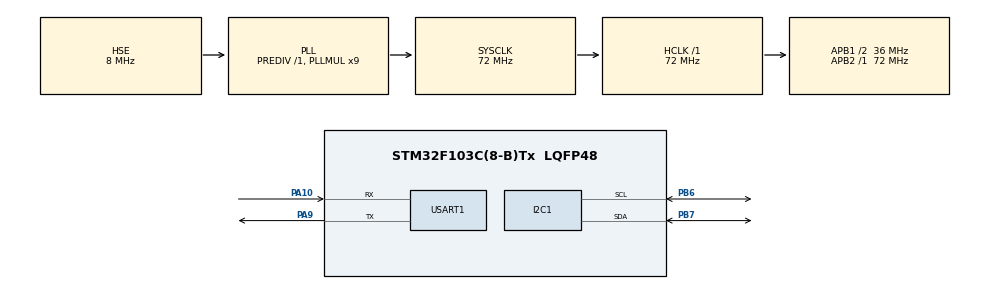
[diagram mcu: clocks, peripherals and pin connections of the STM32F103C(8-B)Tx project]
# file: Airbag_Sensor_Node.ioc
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Mcu.Family=STM32F1
Mcu.Name=STM32F103C(8-B)Tx
Mcu.Package=LQFP48
NVIC.PriorityGroup=NVIC_PRIORITYGROUP_4
PA10.Mode=Asynchronous
PA10.Signal=USART1_RX
PA13.Mode=Serial_Wire
PA13.Signal=SYS_JTMS-SWDIO
PA14.Mode=Serial_Wire
PA14.Signal=SYS_JTCK-SWCLK
PA9.Mode=Asynchronous
PA9.Signal=USART1_TX
PB6.Mode=I2C
PB6.Signal=I2C1_SCL
PB7.Mode=I2C
PB7.Signal=I2C1_SDA
PD0-OSC_IN.Mode=HSE-External-Oscillator
PD0-OSC_IN.Signal=RCC_OSC_IN
PD1-OSC_OUT.Mode=HSE-External-Oscillator
PD1-OSC_OUT.Signal=RCC_OSC_OUT
ProjectManager.HeapSize=0x200
ProjectManager.StackSize=0x400
ProjectManager.TargetToolchain=STM32CubeIDE
RCC.AHBFreq_Value=72000000
RCC.APB1CLKDivider=RCC_HCLK_DIV2
RCC.APB1Freq_Value=36000000
RCC.APB1TimFreq_Value=72000000
RCC.APB2Freq_Value=72000000
RCC.APB2TimFreq_Value=72000000
RCC.HCLKFreq_Value=72000000
RCC.PLLMUL=RCC_PLL_MUL9
RCC.PLLSourceVirtual=RCC_PLLSOURCE_HSE
RCC.SYSCLKFreq_VALUE=72000000
RCC.SYSCLKSource=RCC_SYSCLKSOURCE_PLLCLK
RCC.USBFreq_Value=72000000
USART1.VirtualMode=VM_ASYNC
board=custom

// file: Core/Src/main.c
/* USER CODE BEGIN Header */
/**
  ******************************************************************************
  * @file           : main.c
  * @brief          : Main program body
  ******************************************************************************
  * @attention
  *
  * Copyright (c) 2026 STMicroelectronics.
  * All rights reserved.
  *
  * This software is licensed under terms that can be found in the LICENSE file
  * in the root directory of this software component.
  * If no LICENSE file comes with this software, it is provided AS-IS.
  *
  ******************************************************************************
  */
/* USER CODE END Header */
#include "main.h"

/* USER CODE BEGIN Includes */
#include <stdio.h>
#include <math.h>
#include <string.h>
/* USER CODE END Includes */

I2C_HandleTypeDef hi2c1;

UART_HandleTypeDef huart1;

void SystemClock_Config(void);
static void MX_GPIO_Init(void);
static void MX_I2C1_Init(void);
static void MX_USART1_UART_Init(void);

/* USER CODE BEGIN 0 */

int __io_putchar(int ch)
{
    HAL_UART_Transmit(&huart1, (uint8_t *)&ch, 1, 100);
    return ch;
}

void MPU6050_Init(I2C_HandleTypeDef *hi2c)
{
    uint8_t data = 0;

    // Wake up the MPU6050 (clear sleep bit)
    HAL_I2C_Mem_Write(hi2c, 0x68<<1, 0x6B, 1, &data, 1, 100);

    HAL_Delay(100);
}

void MPU6050_ReadAccel(I2C_HandleTypeDef *hi2c, float *Ax, float *Ay, float *Az)
{
    uint8_t data[6];
    int16_t rawAx, rawAy, rawAz;

    if(HAL_I2C_Mem_Read(hi2c, 0x68<<1, 0x3B, 1, data, 6, 100) == HAL_OK)
    {
        rawAx = (int16_t)(data[0] << 8 | data[1]);
        rawAy = (int16_t)(data[2] << 8 | data[3]);
        rawAz = (int16_t)(data[4] << 8 | data[5]);

        *Ax = rawAx / 16384.0f;
        *Ay = rawAy / 16384.0f;
        *Az = rawAz / 16384.0f;
    }
    else
    {
        *Ax = 0;
        *Ay = 0;
        *Az = 0;
    }
}

/* USER CODE END 0 */

int main(void)
{

  /* MCU Configuration--------------------------------------------------------*/

  /* Reset of all peripherals, Initializes the Flash interface and the Systick. */
  HAL_Init();

  /* Configure the system clock */
  SystemClock_Config();

  /* Initialize all configured peripherals */
  MX_GPIO_Init();
  MX_I2C1_Init();
  MX_USART1_UART_Init();

  /* Infinite loop */
  /* USER CODE BEGIN WHILE */
  float Ax, Ay, Az;
  float A_total;
  MPU6050_Init(&hi2c1);
  while (1)
  {
    /* USER CODE END WHILE */
	  char *msg = "DEPLOY\n";
	  MPU6050_ReadAccel(&hi2c1, &Ax, &Ay, &Az);
	  A_total = sqrt(Ax*Ax + Ay*Ay + Az*Az);
	  if (A_total > 2) {
	      // Send message to ESP32
	  HAL_UART_Transmit(&huart1, (uint8_t*)msg, strlen(msg), HAL_MAX_DELAY);
	  HAL_Delay(200);

  }
}
}

void SystemClock_Config(void)
{
  RCC_OscInitTypeDef RCC_OscInitStruct = {0};
  RCC_ClkInitTypeDef RCC_ClkInitStruct = {0};

  /** Initializes the RCC Oscillators according to the specified parameters
  * in the RCC_OscInitTypeDef structure.
  */
  RCC_OscInitStruct.OscillatorType = RCC_OSCILLATORTYPE_HSE;
  RCC_OscInitStruct.HSEState = RCC_HSE_ON;
  RCC_OscInitStruct.HSEPredivValue = RCC_HSE_PREDIV_DIV1;
  RCC_OscInitStruct.HSIState = RCC_HSI_ON;
  RCC_OscInitStruct.PLL.PLLState = RCC_PLL_ON;
  RCC_OscInitStruct.PLL.PLLSource = RCC_PLLSOURCE_HSE;
  RCC_OscInitStruct.PLL.PLLMUL = RCC_PLL_MUL9;
  if (HAL_RCC_OscConfig(&RCC_OscInitStruct) != HAL_OK)
  {
    Error_Handler();
  }

  /** Initializes the CPU, AHB and APB buses clocks
  */
  RCC_ClkInitStruct.ClockType = RCC_CLOCKTYPE_HCLK|RCC_CLOCKTYPE_SYSCLK
                              |RCC_CLOCKTYPE_PCLK1|RCC_CLOCKTYPE_PCLK2;
  RCC_ClkInitStruct.SYSCLKSource = RCC_SYSCLKSOURCE_PLLCLK;
  RCC_ClkInitStruct.AHBCLKDivider = RCC_SYSCLK_DIV1;
  RCC_ClkInitStruct.APB1CLKDivider = RCC_HCLK_DIV2;
  RCC_ClkInitStruct.APB2CLKDivider = RCC_HCLK_DIV1;

  if (HAL_RCC_ClockConfig(&RCC_ClkInitStruct, FLASH_LATENCY_2) != HAL_OK)
  {
    Error_Handler();
  }
}

static void MX_I2C1_Init(void)
{

  hi2c1.Instance = I2C1;
  hi2c1.Init.ClockSpeed = 100000;
  hi2c1.Init.DutyCycle = I2C_DUTYCYCLE_2;
  hi2c1.Init.OwnAddress1 = 0;
  hi2c1.Init.AddressingMode = I2C_ADDRESSINGMODE_7BIT;
  hi2c1.Init.DualAddressMode = I2C_DUALADDRESS_DISABLE;
  hi2c1.Init.OwnAddress2 = 0;
  hi2c1.Init.GeneralCallMode = I2C_GENERALCALL_DISABLE;
  hi2c1.Init.NoStretchMode = I2C_NOSTRETCH_DISABLE;
  if (HAL_I2C_Init(&hi2c1) != HAL_OK)
  {
    Error_Handler();
  }

}

static void MX_USART1_UART_Init(void)
{

  huart1.Instance = USART1;
  huart1.Init.BaudRate = 115200;
  huart1.Init.WordLength = UART_WORDLENGTH_8B;
  huart1.Init.StopBits = UART_STOPBITS_1;
  huart1.Init.Parity = UART_PARITY_NONE;
  huart1.Init.Mode = UART_MODE_TX_RX;
  huart1.Init.HwFlowCtl = UART_HWCONTROL_NONE;
  huart1.Init.OverSampling = UART_OVERSAMPLING_16;
  if (HAL_UART_Init(&huart1) != HAL_OK)
  {
    Error_Handler();
  }

}

static void MX_GPIO_Init(void)
{

  /* GPIO Ports Clock Enable */
  __HAL_RCC_GPIOD_CLK_ENABLE();
  __HAL_RCC_GPIOA_CLK_ENABLE();
  __HAL_RCC_GPIOB_CLK_ENABLE();

}

void Error_Handler(void)
{
  __disable_irq();
  while (1)
  {
  }
}
